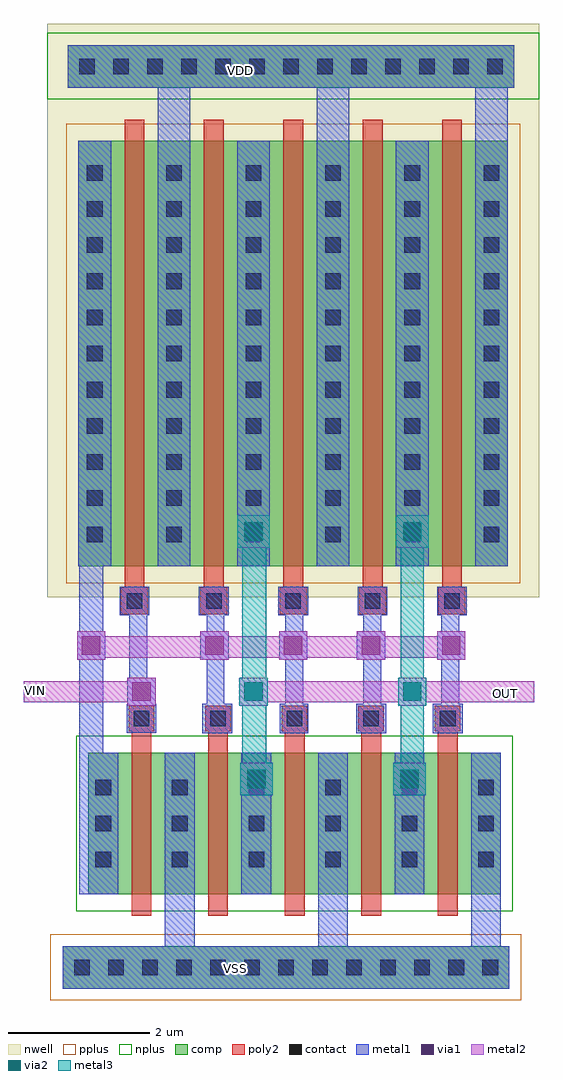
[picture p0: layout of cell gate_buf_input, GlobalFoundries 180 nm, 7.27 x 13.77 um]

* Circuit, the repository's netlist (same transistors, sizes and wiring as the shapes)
** sch_path: /foss/designs/Chipathon-2026-OnChipSAR/designs/sar_adc/digital/gate_buf_input/xschem/gate_buf_input.sch
.subckt gate_buf_input VDD VSS VIN VOUT
*.PININFO VDD:B VSS:B VIN:B VOUT:B
MN1 net1 VIN VSS VSS nfet_03v3 L=0.28u W=2u nf=1
MP1 net1 VIN VDD VDD pfet_03v3 L=0.28u W=6u nf=1
MP2 VOUT net1 VDD VDD pfet_03v3 L=0.28u W=6u nf=1 m=4
MN2 VOUT net1 VSS VSS nfet_03v3 L=0.28u W=2u nf=1 m=4
.ends

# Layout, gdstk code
from math import pi, radians
import gdstk
lib = gdstk.Library(unit=1e-6, precision=1e-09)
def R(c, l, rs):  # rectangles x0, y0, x1, y1
    for r in rs: c.add(gdstk.rectangle(r[:2], r[2:], *l))
def A(c, l, x, y, w, h, nx, ny, dx, dy):  # array of equal rectangles
    R(c, l, [(x+i*dx, y+j*dy, x+i*dx+w, y+j*dy+h) for i in range(nx) for j in range(ny)])
def P(c, l, *ps):  # polygons
    for p in ps: c.add(gdstk.Polygon(p, *l))
nwell = (21, 0)
comp = (22, 0)
poly2 = (30, 0)
pplus = (31, 0)
nplus = (32, 0)
contact = (33, 0)
metal1 = (34, 0)
via1 = (35, 0)
metal2 = (36, 0)
via2 = (38, 0)
metal3 = (42, 0)

via_dev = lib.new_cell('via_dev')
R(via_dev, metal2, [(0,0,0.4,0.4)])
R(via_dev, via2, [(0.07,0.07,0.33,0.33)])
R(via_dev, metal3, [(0,0,0.4,0.4)])

via_dev_1 = lib.new_cell('via_dev$1')
R(via_dev_1, metal1, [(0,0,0.4,0.4)])
R(via_dev_1, via1, [(0.07,0.07,0.33,0.33)])
R(via_dev_1, metal2, [(0,0,0.4,0.4)])

pfet = lib.new_cell('pfet')
R(pfet, nwell, [(-0.9,-0.44,1.56,6.44)])
R(pfet, comp, [(-0.46,0,0,6), (0,0,0.66,6), (0.66,0,1.12,6)])
R(pfet, poly2, [(0.14,-0.68,0.52,-0.3), (0.19,-0.3,0.47,6.3)])
R(pfet, pplus, [(-0.63,-0.24,1.29,6.24)])
A(pfet, contact, -0.34, 0.34, 0.22, 0.22, 1, 11, 0, 0.51)
A(pfet, contact, 0.78, 0.34, 0.22, 0.22, 1, 11, 0, 0.51)
R(pfet, contact, [(0.22,-0.6,0.44,-0.38)])
R(pfet, metal1, [(0.14,-0.681,0.52,-0.299), (-0.42,0.26,-0.04,5.74), (0.7,0.26,1.08,5.74)])

via_dev_7 = lib.new_cell('via_dev$7')
R(via_dev_7, comp, [(0,0,6.3,0.6)])
A(via_dev_7, contact, 0.16, 0.19, 0.22, 0.22, 13, 1, 0.48, 0)
R(via_dev_7, metal1, [(0,0,6.3,0.6)])

via_dev_4 = lib.new_cell('via_dev$4')
R(via_dev_4, metal1, [(0,0,0.46,0.46)])
R(via_dev_4, via1, [(0.1,0.1,0.36,0.36)])
R(via_dev_4, metal2, [(0,0,0.46,0.46)])
R(via_dev_4, via2, [(0.1,0.1,0.36,0.36)])
R(via_dev_4, metal3, [(0,0,0.46,0.46)])

nfet = lib.new_cell('nfet')
R(nfet, comp, [(-0.42,0,0,2), (0,0,0.66,2), (0.66,0,1.08,2)])
R(nfet, poly2, [(0.19,-0.3,0.47,2.3), (0.15,2.3,0.51,2.66)])
R(nfet, nplus, [(-0.59,-0.24,1.25,2.24)])
A(nfet, contact, -0.32, 0.38, 0.22, 0.22, 1, 3, 0, 0.51)
A(nfet, contact, 0.76, 0.38, 0.22, 0.22, 1, 3, 0, 0.51)
R(nfet, contact, [(0.22,2.37,0.44,2.59)])
R(nfet, metal1, [(-0.4,0.3,-0.02,1.7), (0.68,0.3,1.06,1.7), (0.14,2.289,0.52,2.671)])

gate_buf_input = lib.new_cell('gate_buf_input')
R(gate_buf_input, nwell, [(9.73,15.33,16.67,16.54)])
P(gate_buf_input, pplus, [(9.77,2.77),(9.77,3.7),(16.42,3.7),(16.42,3.01),(16.42,2.77)])
R(gate_buf_input, nplus, [(9.73,15.48,16.67,16.42)])
A(gate_buf_input, metal1, 11.39, 3.53, 0.42, 2.73, 3, 1, 2.16, 0)
A(gate_buf_input, metal1, 10.31, 4.26, 0.42, 2, 3, 1, 2.16, 0)
A(gate_buf_input, metal1, 13.09, 6.95, 0.25, 1.259, 3, 1, 1.1, 0)
A(gate_buf_input, metal1, 10.75, 8.2, 0.42, 0.4, 5, 1, 1.12, 0)
A(gate_buf_input, metal1, 10.17, 8.89, 0.46, 6, 3, 1, 2.24, 0)
A(gate_buf_input, metal1, 11.29, 8.89, 0.46, 6.75, 3, 1, 2.24, 0)
R(gate_buf_input, metal1, [(11.39,3.53,11.81,6.26), (10.18,4.26,10.52,8.89), (11.92,6.53,12.34,6.95), (13.01,6.53,13.41,6.95), (14.09,6.53,14.51,6.95), (15.17,6.53,15.59,6.95), (10.85,6.54,11.27,6.94), (10.89,6.94,11.14,8.209), (11.98,6.95,12.23,8.209), (11.29,8.89,11.75,15.64)])
R(gate_buf_input, metal2, [(9.4,6.97,10.86,7.27), (12.84,6.97,16.6,7.27), (10.18,7.6,15.23,7.9)])
R(gate_buf_input, metal3, [(12.48,6.12,12.82,9.15), (14.72,6.12,15.04,9.15)])
gate_buf_input.add(gdstk.Reference(via_dev, (14.68,6.92)))
gate_buf_input.add(gdstk.Reference(via_dev_1, (15.23,7.57)))
gate_buf_input.add(gdstk.Reference(pfet, (13.99,8.89)))
gate_buf_input.add(gdstk.Reference(pfet, (15.11,8.89)))
gate_buf_input.add(gdstk.Reference(via_dev_7, (10.02,15.64)))
gate_buf_input.add(gdstk.Reference(pfet, (12.87,8.89)))
gate_buf_input.add(gdstk.Reference(via_dev_1, (11.89,7.57)))
gate_buf_input.add(gdstk.Reference(via_dev_1, (13,7.57)))
gate_buf_input.add(gdstk.Reference(via_dev_1, (14.1,7.57)))
gate_buf_input.add(gdstk.Reference(via_dev_4, (12.41,9.15)))
gate_buf_input.add(gdstk.Reference(via_dev_1, (10.15,7.57)))
gate_buf_input.add(gdstk.Reference(via_dev_4, (14.65,9.15)))
gate_buf_input.add(gdstk.Reference(via_dev, (12.44,6.92)))
gate_buf_input.add(gdstk.Reference(via_dev_1, (10.86,6.92)))
gate_buf_input.add(gdstk.Reference(pfet, (11.75,8.89)))
gate_buf_input.add(gdstk.Reference(nfet, (12.89,4.26)))
gate_buf_input.add(gdstk.Reference(via_dev_7, (16.25,3.53), rotation=pi))
gate_buf_input.add(gdstk.Reference(nfet, (11.81,4.26)))
gate_buf_input.add(gdstk.Reference(nfet, (13.97,4.26)))
gate_buf_input.add(gdstk.Reference(nfet, (15.05,4.26)))
gate_buf_input.add(gdstk.Reference(via_dev_4, (12.45,5.66)))
gate_buf_input.add(gdstk.Reference(via_dev_4, (14.61,5.66)))
gate_buf_input.add(gdstk.Reference(nfet, (11.39,4.26), rotation=pi, x_reflection=True))
gate_buf_input.add(gdstk.Reference(pfet, (11.29,8.89), rotation=pi, x_reflection=True))
gate_buf_input.add(gdstk.Label('VSS', (12.39,3.21), layer=34, texttype=10))
gate_buf_input.add(gdstk.Label('VDD', (12.45,15.88), layer=34, texttype=10))
gate_buf_input.add(gdstk.Label('VIN', (9.56,7.14), layer=36, texttype=10))
gate_buf_input.add(gdstk.Label('OUT', (16.2,7.1), layer=36, texttype=10))

lib.write_gds('gate_buf_input.gds')
